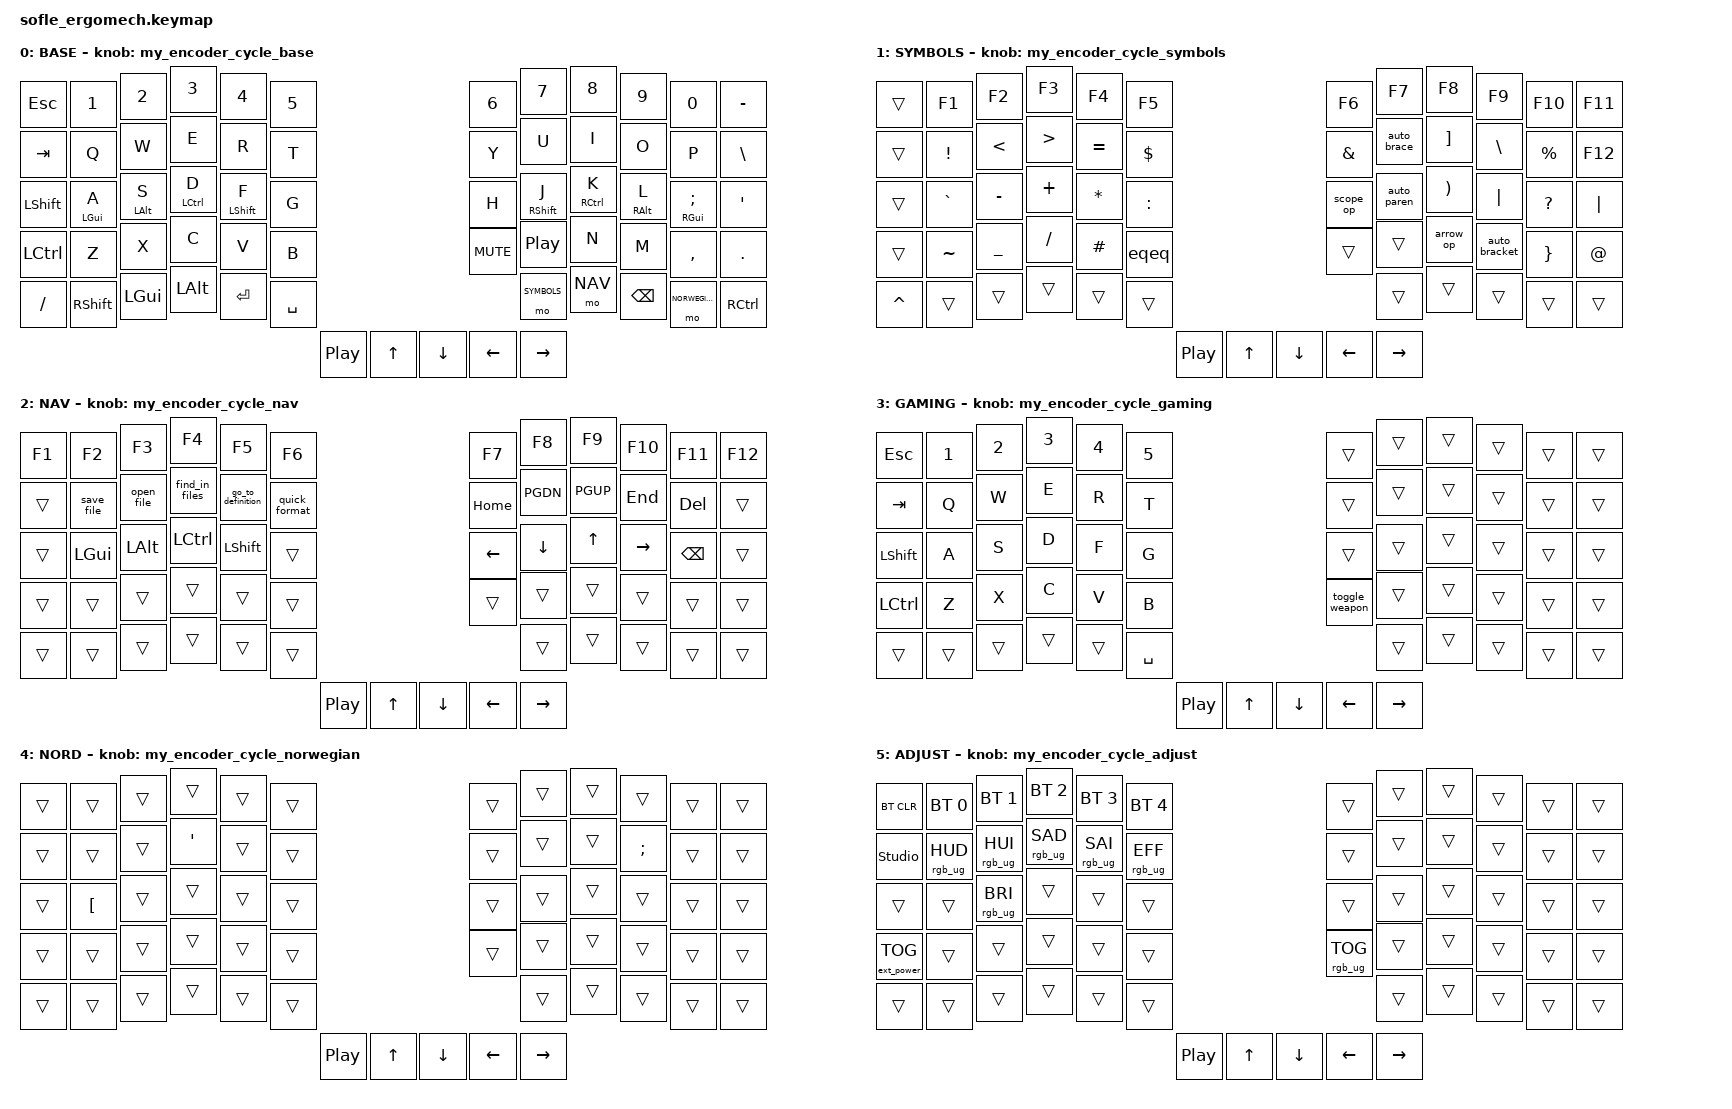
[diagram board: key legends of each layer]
#include <behaviors.dtsi>
#include <dt-bindings/zmk/keys.h>
#include <dt-bindings/zmk/bt.h>
#include <dt-bindings/zmk/ext_power.h>
#include <dt-bindings/zmk/rgb.h>

#define BASE 0
#define SYMBOLS 1
#define NAV 2
#define GAMING 3
#define NORWEGIAN 4
#define ADJUST 5

/ {
    behaviors {
        hm_l: homerow_mods_left {
            compatible = "zmk,behavior-hold-tap";
            #binding-cells = <2>;
            tapping-term-ms = <240>;
            quick-tap-ms = <150>;
            flavor = "balanced";
            bindings = <&kp &kp>;
            hold-trigger-key-positions = <6 7 8 9 10 11 18 19 20 21 22 23 30 31 32 33 34 35 42 43 44 45 46 47>;
        };

        hm_r: homerow_mods_right {
            compatible = "zmk,behavior-hold-tap";
            #binding-cells = <2>;
            tapping-term-ms = <240>;
            quick-tap-ms = <150>;
            flavor = "balanced";
            bindings = <&kp &kp>;
            hold-trigger-key-positions = <0 1 2 3 4 5 12 13 14 15 16 17 24 25 26 27 28 29 36 37 38 39 40 41>;
        };

        my_encoder_cycle_base: my_encoder_cycle_base {
            compatible = "zmk,behavior-sensor-rotate";
            #sensor-binding-cells = <0>;
            bindings = <&to SYMBOLS>, <&to ADJUST>;
        };

        my_encoder_cycle_symbols: my_encoder_cycle_symbols {
            compatible = "zmk,behavior-sensor-rotate";
            #sensor-binding-cells = <0>;
            bindings = <&to NAV>, <&to BASE>;
        };

        my_encoder_cycle_nav: my_encoder_cycle_nav {
            compatible = "zmk,behavior-sensor-rotate";
            #sensor-binding-cells = <0>;
            bindings = <&to GAMING>, <&to SYMBOLS>;
        };

        my_encoder_cycle_gaming: my_encoder_cycle_gaming {
            compatible = "zmk,behavior-sensor-rotate";
            #sensor-binding-cells = <0>;
            bindings = <&to NORWEGIAN>, <&to NAV>;
        };

        my_encoder_cycle_norwegian: my_encoder_cycle_norwegian {
            compatible = "zmk,behavior-sensor-rotate";
            #sensor-binding-cells = <0>;
            bindings = <&to ADJUST>, <&to GAMING>;
        };

        my_encoder_cycle_adjust: my_encoder_cycle_adjust {
            compatible = "zmk,behavior-sensor-rotate";
            #sensor-binding-cells = <0>;
            bindings = <&to BASE>, <&to NORWEGIAN>;
        };
    };

    macros {
        save_file: save_file {
            compatible = "zmk,behavior-macro";
            #binding-cells = <0>;
            bindings = <&kp LC(S)>;
        };
        open_file: open_file {
            compatible = "zmk,behavior-macro";
            #binding-cells = <0>;
            bindings = <&kp LC(K) &kp LC(O)>;
        };
        find_in_files: find_in_files {
            compatible = "zmk,behavior-macro";
            #binding-cells = <0>;
            bindings = <&kp LC(LS(F))>;
        };
        go_to_definition: go_to_definition {
            compatible = "zmk,behavior-macro";
            #binding-cells = <0>;
            bindings = <&kp LC(LS(I))>;
        };
        quick_format: quick_format {
            compatible = "zmk,behavior-macro";
            #binding-cells = <0>;
            bindings = <&kp LC(LA(F))>;
        };
        auto_paren: auto_paren {
            compatible = "zmk,behavior-macro";
            #binding-cells = <0>;
            bindings = <&kp LPAR &kp RPAR &kp LEFT>;
        };
        auto_bracket: auto_bracket {
            compatible = "zmk,behavior-macro";
            #binding-cells = <0>;
            bindings = <&kp LBRC &kp RBRC &kp LEFT>;
        };
        auto_brace: auto_brace {
            compatible = "zmk,behavior-macro";
            #binding-cells = <0>;
            bindings = <&kp LBKT &kp RBKT &kp LEFT>;
        };
        eqeq: eqeq {
            compatible = "zmk,behavior-macro";
            #binding-cells = <0>;
            bindings = <&kp EQUAL &kp EQUAL>;
        };
        scope_op: scope_op {
            compatible = "zmk,behavior-macro";
            #binding-cells = <0>;
            bindings = <&kp LS(SEMICOLON) &kp LS(SEMICOLON)>;
        };
        arrow_op: arrow_op {
            compatible = "zmk,behavior-macro";
            #binding-cells = <0>;
            bindings = <&kp MINUS &kp GT>;
        };
        toggle_weapon: toggle_weapon {
            compatible = "zmk,behavior-macro";
            #binding-cells = <0>;
            bindings = <&kp TAB>;
        };
    };

    combos {
        compatible = "zmk,combos";
        combo_caps {
            timeout-ms = <50>;
            key-positions = <20 21>;
            bindings = <&kp CAPS>;
        };
    };

    keymap {
        compatible = "zmk,keymap";

        layer_0 {
            label = "BASE";
            bindings = <
&kp ESCAPE   &kp N1       &kp N2       &kp N3       &kp N4       &kp N5                            &kp N6       &kp N7       &kp N8       &kp N9       &kp N0       &kp MINUS
&kp TAB      &kp Q        &kp W        &kp E        &kp R        &kp T                             &kp Y        &kp U        &kp I        &kp O        &kp P        &kp BSLH
&kp LSHFT    &hm_l LGUI A &hm_l LALT S &hm_l LCTRL D &hm_l LSHIFT F &kp G                           &kp H        &hm_r RSHIFT J &hm_r RCTRL K &hm_r RALT L &hm_r RGUI SEMI &kp SQT
&kp LCTRL    &kp Z        &kp X        &kp C        &kp V        &kp B        &kp C_MUTE &kp C_PLAY_PAUSE &kp N &kp M        &kp COMMA    &kp DOT      &kp FSLH     &kp RSHFT
                          &kp LGUI     &kp LALT     &kp RETURN   &kp SPACE    &mo SYMBOLS                       &mo NAV      &kp BSPC     &mo NORWEGIAN &kp RCTRL
&kp C_PLAY_PAUSE &kp UP_ARROW &kp DOWN_ARROW &kp LEFT_ARROW &kp RIGHT_ARROW
            >;
            sensor-bindings = <&my_encoder_cycle_base>;
        };

        layer_1 {
            label = "SYMBOLS";
            bindings = <
&trans       &kp F1       &kp F2       &kp F3       &kp F4       &kp F5                            &kp F6       &kp F7       &kp F8       &kp F9       &kp F10      &kp F11
&trans       &kp EXCL     &kp LT       &kp GT       &kp EQUAL    &kp DLLR                          &kp AMPS     &auto_brace  &kp RBKT     &kp BSLH     &kp PRCNT    &kp F12
&trans       &kp GRAVE    &kp MINUS    &kp PLUS     &kp ASTRK    &kp COLON                         &scope_op    &auto_paren  &kp RPAR     &kp PIPE     &kp QMARK    &kp PIPE
&trans       &kp TILDE    &kp UNDER    &kp FSLH     &kp POUND    &eqeq        &trans     &trans    &arrow_op    &auto_bracket &kp RBRC    &kp AT       &kp CARET    &trans
                          &trans       &trans       &trans       &trans       &trans                            &trans       &trans       &trans       &trans
&kp C_PLAY_PAUSE &kp UP_ARROW &kp DOWN_ARROW &kp LEFT_ARROW &kp RIGHT_ARROW
            >;
            sensor-bindings = <&my_encoder_cycle_symbols>;
        };

        layer_2 {
            label = "NAV";
            bindings = <
&kp F1       &kp F2       &kp F3       &kp F4       &kp F5       &kp F6                            &kp F7       &kp F8       &kp F9       &kp F10      &kp F11      &kp F12
&trans       &save_file   &open_file   &find_in_files &go_to_definition &quick_format                  &kp HOME     &kp PGDN     &kp PGUP     &kp END      &kp DEL      &trans
&trans       &kp LGUI     &kp LALT     &kp LCTRL    &kp LSHIFT   &trans                            &kp LEFT     &kp DOWN     &kp UP       &kp RIGHT    &kp BSPC     &trans
&trans       &trans       &trans       &trans       &trans       &trans       &trans     &trans    &trans       &trans       &trans       &trans       &trans       &trans
                          &trans       &trans       &trans       &trans       &trans                            &trans       &trans       &trans       &trans
&kp C_PLAY_PAUSE &kp UP_ARROW &kp DOWN_ARROW &kp LEFT_ARROW &kp RIGHT_ARROW
            >;
            sensor-bindings = <&my_encoder_cycle_nav>;
        };

        layer_3 {
            label = "GAMING";
            bindings = <
&kp ESC      &kp N1       &kp N2       &kp N3       &kp N4       &kp N5                            &trans       &trans       &trans       &trans       &trans       &trans
&kp TAB      &kp Q        &kp W        &kp E        &kp R        &kp T                             &trans       &trans       &trans       &trans       &trans       &trans
&kp LSHFT    &kp A        &kp S        &kp D        &kp F        &kp G                             &trans       &trans       &trans       &trans       &trans       &trans
&kp LCTRL    &kp Z        &kp X        &kp C        &kp V        &kp B        &toggle_weapon &trans  &trans       &trans       &trans       &trans       &trans       &trans
                          &trans       &trans       &trans       &kp SPACE    &trans                            &trans       &trans       &trans       &trans
&kp C_PLAY_PAUSE &kp UP_ARROW &kp DOWN_ARROW &kp LEFT_ARROW &kp RIGHT_ARROW
            >;
            sensor-bindings = <&my_encoder_cycle_gaming>;
        };

        layer_4 {
            label = "NORD";
            bindings = <
&trans       &trans       &trans       &trans       &trans       &trans                            &trans       &trans       &trans       &trans       &trans       &trans
&trans       &trans       &trans       &kp SQT      &trans       &trans                            &trans       &trans       &trans       &kp SEMI     &trans       &trans
&trans       &kp LBKT     &trans       &trans       &trans       &trans                            &trans       &trans       &trans       &trans       &trans       &trans
&trans       &trans       &trans       &trans       &trans       &trans       &trans     &trans    &trans       &trans       &trans       &trans       &trans       &trans
                          &trans       &trans       &trans       &trans       &trans                            &trans       &trans       &trans       &trans
&kp C_PLAY_PAUSE &kp UP_ARROW &kp DOWN_ARROW &kp LEFT_ARROW &kp RIGHT_ARROW
            >;
            sensor-bindings = <&my_encoder_cycle_norwegian>;
        };

        layer_5 {
            label = "ADJUST";
            bindings = <
&bt BT_CLR   &bt BT_SEL 0 &bt BT_SEL 1 &bt BT_SEL 2 &bt BT_SEL 3 &bt BT_SEL 4                      &trans       &trans       &trans       &trans       &trans       &trans
&studio_unlock &rgb_ug RGB_HUD &rgb_ug RGB_HUI &rgb_ug RGB_SAD &rgb_ug RGB_SAI &rgb_ug RGB_EFF     &trans       &trans       &trans       &trans       &trans       &trans
&trans       &trans       &rgb_ug RGB_BRI &trans       &trans       &trans                            &trans       &trans       &trans       &trans       &trans       &trans
&ext_power EP_TOG &trans   &trans       &trans       &trans       &trans       &rgb_ug RGB_TOG &trans &trans &trans       &trans       &trans       &trans       &trans
                          &trans       &trans       &trans       &trans       &trans                            &trans       &trans       &trans       &trans
&kp C_PLAY_PAUSE &kp UP_ARROW &kp DOWN_ARROW &kp LEFT_ARROW &kp RIGHT_ARROW
            >;
            sensor-bindings = <&my_encoder_cycle_adjust>;
        };
    };
};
